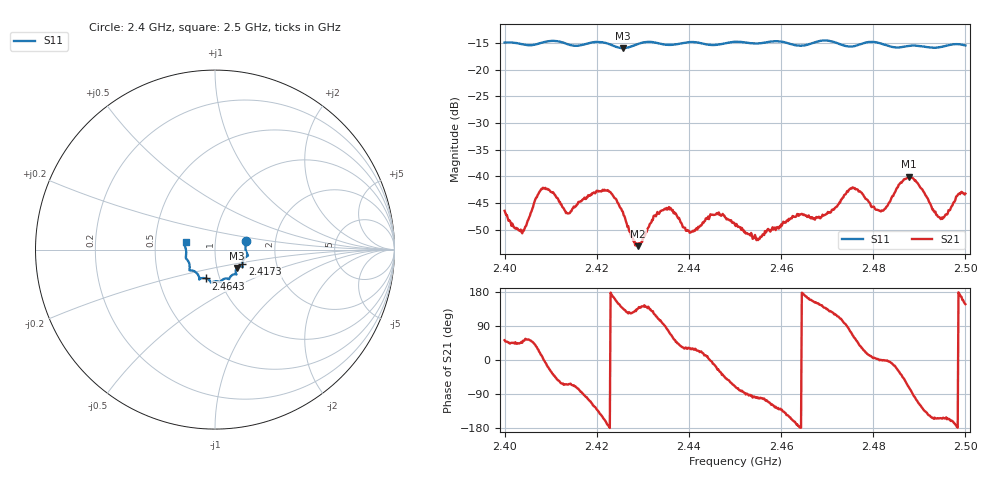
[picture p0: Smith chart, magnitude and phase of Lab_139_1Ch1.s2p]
# Hz S RI R 50
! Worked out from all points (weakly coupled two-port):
!   601 points, 2.4 GHz to 2.5 GHz, reference 50 ohm
!   highest |S21| = -40.06 dB at 2.4877 GHz (marker M1); lowest = -53.1 dB at 2.429 GHz (marker M2)
!   lowest |S11| = -15.9 dB at 2.4257 GHz (marker M3), VSWR 1.38, Z = 62.4 - j13.1 ohm
!   |S11| at or under -10 dB: start of sweep to end of sweep
!   S12 and S22 are empty: the file has one direction only
!   S11 on the Smith chart (normalised r, x): 2.4 GHz: 1.41, +0.14; 2.4173 GHz: 1.34, -0.23; 2.4643 GHz: 0.86, -0.28; 2.5 GHz: 0.72, +0.06
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2.4e9  0.1731 0.0495  0.00293 0.00376  0 0  0 0
2.403667e9  0.1718 0.0286  0.00201 0.00224  0 0  0 0
2.408333e9  0.1796 -0.0235  0.00782 0.000612  0 0  0 0
2.413667e9  0.1683 -0.0442  0.00192 -0.00408  0 0  0 0
2.416667e9  0.1529 -0.0747  0.000568 -0.00584  0 0  0 0
2.417333e9  0.1524 -0.0822  -0.000346 -0.00633  0 0  0 0
2.422167e9  0.1504 -0.0942  -0.00721 -0.00156  0 0  0 0
2.425667e9  0.1225 -0.1022  -0.00337 0.00323  0 0  0 0
2.429e9  0.1162 -0.131  -0.00161 0.00153  0 0  0 0
2.433333e9  0.1127 -0.1368  -0.00144 0.00428  0 0  0 0
2.436e9  0.0942 -0.143  0.00193 0.0047  0 0  0 0
2.440333e9  0.0794 -0.1638  0.00261 0.00146  0 0  0 0
2.446e9  0.0474 -0.1648  0.00424 -0.00154  0 0  0 0
2.45e9  0.0298 -0.1808  0.00123 -0.0033  0 0  0 0
2.455167e9  0.000189 -0.177  -0.000433 -0.00257  0 0  0 0
2.464333e9  -0.0502 -0.1605  -0.00443 -0.000103  0 0  0 0
2.466667e9  -0.0762 -0.1599  -0.00383 0.00162  0 0  0 0
2.4755e9  -0.1115 -0.1225  0.00324 0.00721  0 0  0 0
2.483333e9  -0.141 -0.0896  0.00558 -0.000423  0 0  0 0
2.487667e9  -0.1592 -0.0524  0.00326 -0.00938  0 0  0 0
2.4945e9  -0.1629 0.00433  -0.00366 -0.00184  0 0  0 0
2.5e9  -0.1639 0.042  -0.00583 0.00372  0 0  0 0
